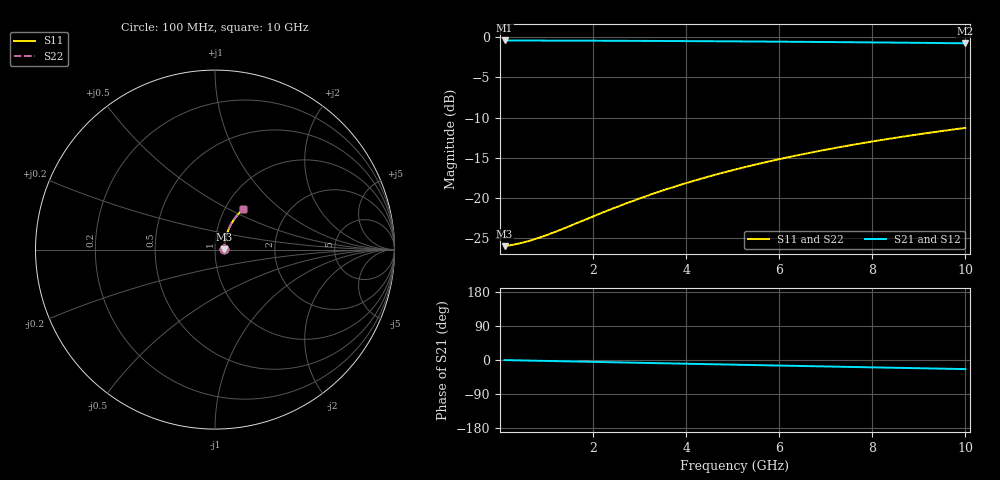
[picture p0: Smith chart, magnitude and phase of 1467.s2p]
# Hz S RI R 50.00
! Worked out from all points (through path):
!   100 points, 100 MHz to 10 GHz, reference 50 ohm
!   highest |S21| = -0.45 dB at 100 MHz (marker M1); lowest = -0.8 dB at 10 GHz (marker M2)
!   group delay of S21, straight-line fit = 6.69 ps
!   lowest |S11| = -26.0 dB at 100 MHz (marker M3), VSWR 1.11, Z = 55.3 + j0.291 ohm
!   |S11| at or under -10 dB: start of sweep to end of sweep
!   |S22| runs from -26.0 to -11.3 dB; largest |S21 - S12| = 0
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1e8  0.0503 0.00262  0.9497 -0.00409  0.9497 -0.00409  0.0503 0.00262
3e8  0.051 0.00785  0.949 -0.0123  0.949 -0.0123  0.051 0.00785
5e8  0.0515 0.0131  0.9485 -0.0204  0.9485 -0.0204  0.0515 0.0131
8e8  0.0523 0.0209  0.9476 -0.0326  0.9476 -0.0326  0.0523 0.0209
1e9  0.0529 0.0261  0.947 -0.0408  0.947 -0.0408  0.0529 0.0261
1.2e9  0.0536 0.0313  0.9463 -0.0489  0.9463 -0.0489  0.0536 0.0313
1.8e9  0.056 0.0467  0.9436 -0.0732  0.9436 -0.0732  0.056 0.0467
2.2e9  0.058 0.0569  0.9414 -0.0893  0.9414 -0.0893  0.058 0.0569
2.6e9  0.0603 0.067  0.9389 -0.1053  0.9389 -0.1053  0.0603 0.067
3e9  0.063 0.0771  0.936 -0.1212  0.936 -0.1212  0.063 0.0771
3.4e9  0.066 0.087  0.9327 -0.1369  0.9327 -0.1369  0.066 0.087
3.8e9  0.0693 0.0967  0.9291 -0.1526  0.9291 -0.1526  0.0693 0.0967
4.2e9  0.0729 0.1064  0.9251 -0.1681  0.9251 -0.1681  0.0729 0.1064
4.6e9  0.0768 0.1158  0.9208 -0.1835  0.9208 -0.1835  0.0768 0.1158
5.1e9  0.0822 0.1275  0.9149 -0.2025  0.9149 -0.2025  0.0822 0.1275
5.5e9  0.0868 0.1366  0.9098 -0.2175  0.9098 -0.2175  0.0868 0.1366
5.9e9  0.0916 0.1455  0.9044 -0.2323  0.9044 -0.2323  0.0916 0.1455
6.7e9  0.1022 0.1627  0.8927 -0.2613  0.8927 -0.2613  0.1022 0.1627
7.5e9  0.1138 0.179  0.8798 -0.2895  0.8798 -0.2895  0.1138 0.179
8.4e9  0.128 0.1962  0.864 -0.3201  0.864 -0.3201  0.128 0.1962
9.2e9  0.1416 0.2105  0.8489 -0.3462  0.8489 -0.3462  0.1416 0.2105
1e10  0.1558 0.2237  0.8329 -0.3713  0.8329 -0.3713  0.1558 0.2237
